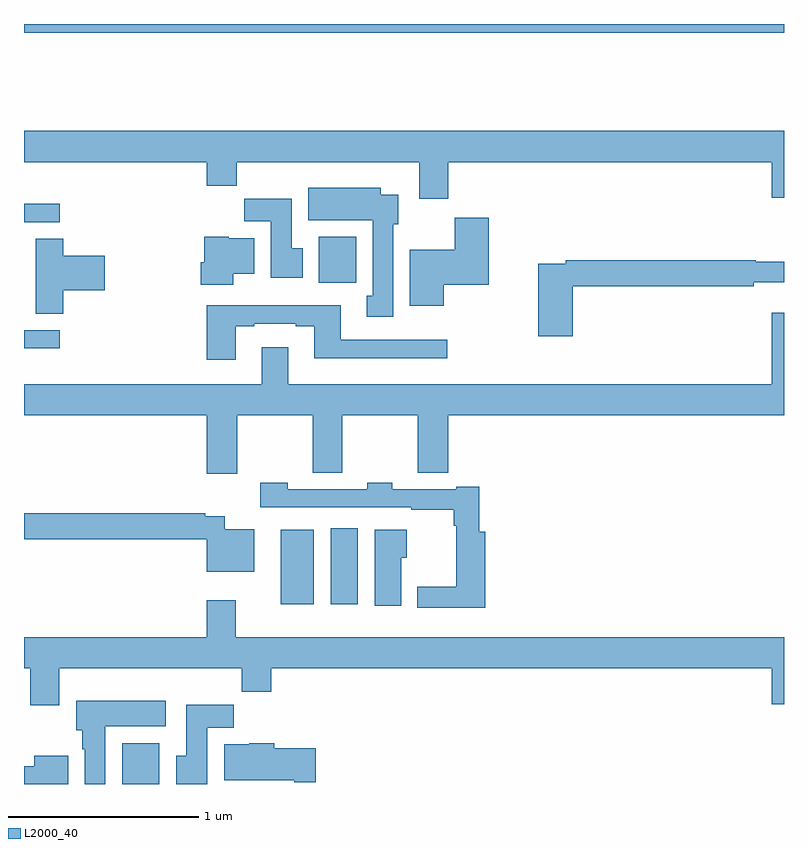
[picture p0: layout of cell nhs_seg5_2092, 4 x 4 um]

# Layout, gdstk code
import gdstk
lib = gdstk.Library(unit=1e-6, precision=1e-09)
def R(c, l, rs):  # rectangles x0, y0, x1, y1
    for r in rs: c.add(gdstk.rectangle(r[:2], r[2:], *l))
def P(c, l, *ps):  # polygons
    for p in ps: c.add(gdstk.Polygon(p, *l))
L2000_40 = (2000, 40)

nhs_seg5_2092 = lib.new_cell('nhs_seg5_2092')
R(nhs_seg5_2092, L2000_40, [(233.516,874.799,233.713,875.014), (234.35,875.744,234.526,876.136), (234.614,875.744,234.757,876.145), (233,877.092,233.188,877.188), (234.551,877.436,234.748,877.678), (233,877.755,233.188,877.854), (233,878.752,237,878.799)])
P(nhs_seg5_2092, L2000_40, [(235.232,878.072),(236.936,878.072),(236.936,877.884),(237,877.884),(237,878.236),(233,878.236),(233,878.072),(233.963,878.072),(233.963,877.948),(234.119,877.948),(234.119,878.072),(235.079,878.072),(235.079,877.878),(235.232,877.878)],
  [(234.943,877.746),(234.97,877.746),(234.97,877.9),(234.877,877.9),(234.877,877.936),(234.497,877.936),(234.497,877.766),(234.836,877.766),(234.836,877.37),(234.803,877.37),(234.803,877.257),(234.943,877.257)],
  [(234.466,877.62),(234.409,877.62),(234.409,877.878),(234.16,877.878),(234.16,877.76),(234.299,877.76),(234.299,877.464),(234.466,877.464)],
  [(235.21,877.427),(235.445,877.427),(235.445,877.78),(235.267,877.78),(235.267,877.612),(235.031,877.612),(235.031,877.316),(235.21,877.316)],
  [(234.1,877.484),(234.211,877.484),(234.211,877.672),(234.078,877.672),(234.078,877.678),(233.948,877.678),(233.948,877.545),(233.93,877.545),(233.93,877.427),(234.1,877.427)],
  [(233.207,877.397),(233.425,877.397),(233.425,877.58),(233.207,877.58),(233.207,877.67),(233.063,877.67),(233.063,877.273),(233.207,877.273)],
  [(235.889,877.42),(236.84,877.42),(236.84,877.439),(237,877.439),(237,877.549),(236.852,877.549),(236.852,877.556),(235.852,877.556),(235.852,877.536),(235.706,877.536),(235.706,877.155),(235.889,877.155)],
  [(234.115,877.209),(234.211,877.209),(234.211,877.221),(234.431,877.221),(234.431,877.209),(234.527,877.209),(234.527,877.04),(235.228,877.04),(235.228,877.137),(234.667,877.137),(234.667,877.318),(233.963,877.318),(233.963,877.032),(234.115,877.032)],
  [(234.123,876.74),(234.52,876.74),(234.52,876.436),(234.674,876.436),(234.674,876.74),(235.072,876.74),(235.072,876.436),(235.232,876.436),(235.232,876.74),(237,876.74),(237,877.279),(236.936,877.279),(236.936,876.904),(234.391,876.904),(234.391,877.099),(234.251,877.099),(234.251,876.904),(233,876.904),(233,876.74),(233.963,876.74),(233.963,876.432),(234.123,876.432)],
  [(235.427,876.127),(235.397,876.127),(235.397,876.364),(235.274,876.364),(235.274,876.351),(234.939,876.351),(234.939,876.384),(234.807,876.384),(234.807,876.351),(234.387,876.351),(234.387,876.384),(234.243,876.384),(234.243,876.255),(235.039,876.255),(235.039,876.243),(235.261,876.243),(235.261,876.158),(235.276,876.158),(235.276,875.836),(235.071,875.836),(235.071,875.726),(235.427,875.726)],
  [(234.211,876.139),(234.057,876.139),(234.057,876.207),(233.954,876.207),(233.954,876.224),(233,876.224),(233,876.088),(233.961,876.088),(233.961,875.915),(234.211,875.915)],
  [(234.985,875.989),(235.015,875.989),(235.015,876.136),(234.845,876.136),(234.845,875.736),(234.985,875.736)],
  [(233.185,875.408),(234.145,875.408),(234.145,875.284),(234.302,875.284),(234.302,875.408),(236.936,875.408),(236.936,875.22),(237,875.22),(237,875.572),(234.115,875.572),(234.115,875.767),(233.963,875.767),(233.963,875.572),(233,875.572),(233,875.408),(233.033,875.408),(233.033,875.214),(233.185,875.214)],
  [(233.428,875.102),(233.746,875.102),(233.746,875.236),(233.276,875.236),(233.276,875.082),(233.306,875.082),(233.306,874.982),(233.321,874.982),(233.321,874.799),(233.428,874.799)],
  [(233.965,875.096),(234.104,875.096),(234.104,875.215),(233.855,875.215),(233.855,874.948),(233.801,874.948),(233.801,874.799),(233.965,874.799)],
  [(234.535,874.986),(234.317,874.986),(234.317,875.014),(234.186,875.014),(234.186,875.008),(234.053,875.008),(234.053,874.82),(234.422,874.82),(234.422,874.808),(234.535,874.808)],
  [(233.233,874.948),(233.054,874.948),(233.054,874.892),(233,874.892),(233,874.799),(233.233,874.799)])

lib.write_gds('nhs_seg5_2092.gds')
